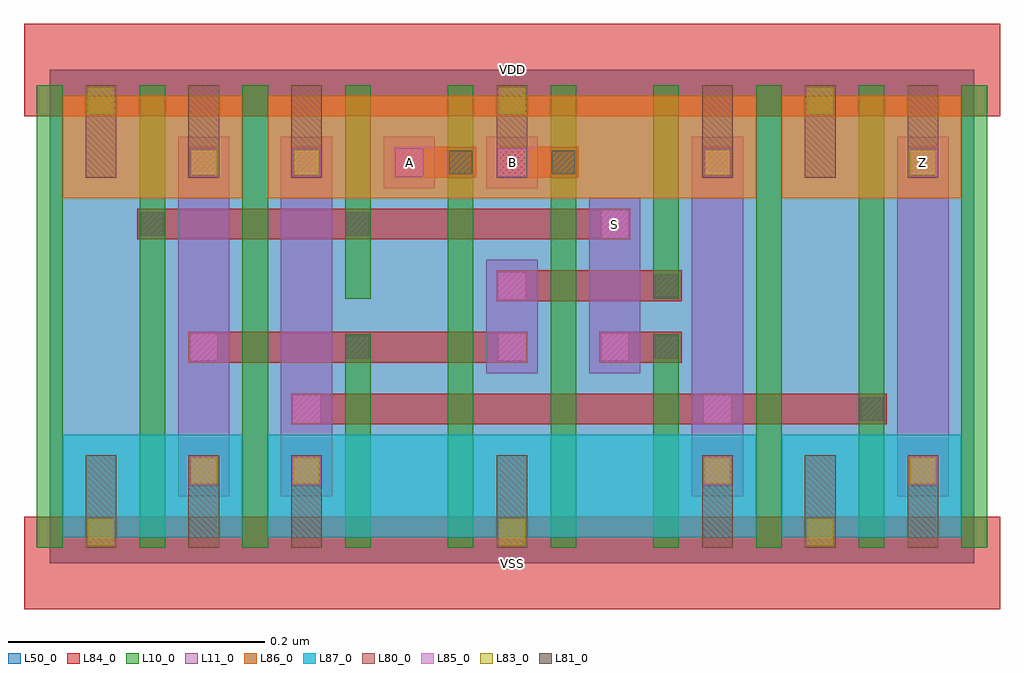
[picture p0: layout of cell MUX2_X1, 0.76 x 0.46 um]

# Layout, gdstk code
import gdstk
lib = gdstk.Library(unit=1e-6, precision=1e-09)
def R(c, l, rs):  # rectangles x0, y0, x1, y1
    for r in rs: c.add(gdstk.rectangle(r[:2], r[2:], *l))
def A(c, l, x, y, w, h, nx, ny, dx, dy):  # array of equal rectangles
    R(c, l, [(x+i*dx, y+j*dy, x+i*dx+w, y+j*dy+h) for i in range(nx) for j in range(ny)])
L10_0 = (10, 0)
L11_0 = (11, 0)
L50_0 = (50, 0)
L80_0 = (80, 0)
L81_0 = (81, 0)
L83_0 = (83, 0)
L84_0 = (84, 0)
L85_0 = (85, 0)
L86_0 = (86, 0)
L87_0 = (87, 0)

mux2_x1 = lib.new_cell('MUX2_X1')
A(mux2_x1, L10_0, -0.01, 0.012, 0.02, 0.36, 3, 1, 0.08, 0)
A(mux2_x1, L10_0, 0.55, 0.012, 0.02, 0.36, 3, 1, 0.08, 0)
R(mux2_x1, L10_0, [(0.23,0.012,0.25,0.178), (0.31,0.012,0.33,0.372), (0.39,0.012,0.41,0.372), (0.47,0.012,0.49,0.178), (0.23,0.206,0.25,0.372), (0.47,0.206,0.49,0.372)])
R(mux2_x1, L11_0, [(0.1,0.052,0.14,0.332), (0.18,0.052,0.22,0.332), (0.5,0.052,0.54,0.332), (0.66,0.052,0.7,0.332), (0.34,0.148,0.38,0.236), (0.42,0.148,0.46,0.284), (0.26,0.292,0.3,0.332), (0.34,0.292,0.38,0.332)])
R(mux2_x1, L50_0, [(0,0,0.72,0.384)])
A(mux2_x1, L80_0, 0.028, 0.012, 0.024, 0.072, 3, 2, 0.08, 0.288)
A(mux2_x1, L80_0, 0.508, 0.012, 0.024, 0.072, 3, 2, 0.08, 0.288)
R(mux2_x1, L80_0, [(0.348,0.012,0.372,0.084), (0.348,0.3,0.372,0.372)])
R(mux2_x1, L81_0, [(0.631,0.111,0.649,0.129), (0.231,0.159,0.249,0.177), (0.471,0.159,0.489,0.177), (0.471,0.207,0.489,0.225), (0.071,0.255,0.089,0.273), (0.231,0.255,0.249,0.273), (0.311,0.303,0.329,0.321), (0.391,0.303,0.409,0.321)])
R(mux2_x1, L83_0, [(0.03,0.014,0.05,0.034), (0.35,0.014,0.37,0.034), (0.59,0.014,0.61,0.034), (0.11,0.062,0.13,0.082), (0.19,0.062,0.21,0.082), (0.51,0.062,0.53,0.082), (0.67,0.062,0.69,0.082), (0.11,0.302,0.13,0.322), (0.19,0.302,0.21,0.322), (0.51,0.302,0.53,0.322), (0.67,0.302,0.69,0.322), (0.03,0.35,0.05,0.37), (0.35,0.35,0.37,0.37), (0.59,0.35,0.61,0.37)])
R(mux2_x1, L84_0, [(-0.02,-0.036,0.74,0.036), (0.108,0.06,0.132,0.084), (0.188,0.06,0.212,0.084), (0.508,0.06,0.532,0.084), (0.668,0.06,0.692,0.084), (0.188,0.108,0.652,0.132), (0.108,0.156,0.372,0.18), (0.428,0.156,0.492,0.18), (0.348,0.204,0.492,0.228), (0.068,0.252,0.452,0.276), (0.108,0.3,0.132,0.324), (0.188,0.3,0.212,0.324), (0.268,0.3,0.332,0.324), (0.348,0.3,0.412,0.324), (0.508,0.3,0.532,0.324), (0.668,0.3,0.692,0.324), (-0.02,0.348,0.74,0.42)])
A(mux2_x1, L85_0, 0.109, 0.301, 0.022, 0.022, 4, 1, 0.08, 0)
R(mux2_x1, L85_0, [(0.109,0.061,0.131,0.083), (0.189,0.061,0.211,0.083), (0.509,0.061,0.531,0.083), (0.669,0.061,0.691,0.083), (0.189,0.109,0.211,0.131), (0.509,0.109,0.531,0.131), (0.109,0.157,0.131,0.179), (0.349,0.157,0.371,0.179), (0.429,0.157,0.451,0.179), (0.349,0.205,0.371,0.227), (0.429,0.253,0.451,0.275), (0.509,0.301,0.531,0.323), (0.669,0.301,0.691,0.323)])
R(mux2_x1, L86_0, [(0.01,0.284,0.15,0.364), (0.17,0.284,0.55,0.364), (0.57,0.284,0.71,0.364)])
R(mux2_x1, L87_0, [(0.01,0.02,0.15,0.1), (0.17,0.02,0.55,0.1), (0.57,0.02,0.71,0.1)])
mux2_x1.add(gdstk.Label('VDD', (0.36,0.384), layer=88, texttype=0))
mux2_x1.add(gdstk.Label('VSS', (0.36,0), layer=88, texttype=0))
mux2_x1.add(gdstk.Label('Z', (0.68,0.312), layer=31, texttype=0))
mux2_x1.add(gdstk.Label('S', (0.44,0.264), layer=31, texttype=0))
mux2_x1.add(gdstk.Label('A', (0.28,0.312), layer=31, texttype=0))
mux2_x1.add(gdstk.Label('B', (0.36,0.312), layer=31, texttype=0))

lib.write_gds('MUX2_X1.gds')
